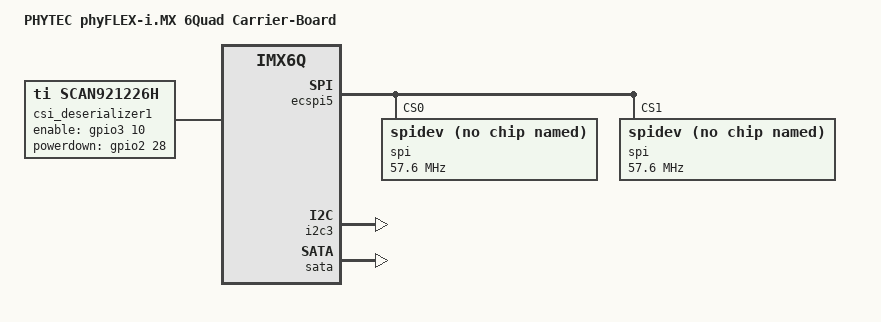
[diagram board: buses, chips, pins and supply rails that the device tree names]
// SPDX-License-Identifier: (GPL-2.0+ OR MIT)
/*
 * Copyright (C) 2018 PHYTEC Messtechnik GmbH
 * Author: Christian Hemp <c.hemp@phytec.de>
 */

/dts-v1/;
#include "imx6q-phytec-pfla02.dtsi"
#include "imx6qdl-phytec-pbab01.dtsi"
#include "imx6q-phytec-pbab01-phycam.dtsi"

/ {
	model = "PHYTEC phyFLEX-i.MX 6Quad Carrier-Board";
	compatible = "phytec,imx6q-pbab01", "phytec,imx6q-pfla02", "fsl,imx6q";

	chosen {
		stdout-path = &uart4;
	};

	csi_deserializer1: csi-deserializer1 {
		compatible = "ti,scan921226h";
		pinctrl-names = "default";
		pinctrl-0 = <&pinctrl_csi_des1>;

		enable-gpios = <&gpio3 10 GPIO_ACTIVE_HIGH>;
		powerdown-gpios = <&gpio2 28 GPIO_ACTIVE_HIGH>;
	};
};

&ecspi5 {
	status = "okay";

	spi@0 {
		compatible = "spidev";
		spi-max-frequency = <57600000>;
		reg = <0>;
	};

	spi@1 {
		compatible = "spidev";
		spi-max-frequency = <57600000>;
		reg = <1>;
	};
};

&i2c3 {
	status = "okay";
};

&sata {
        status = "okay";
};
